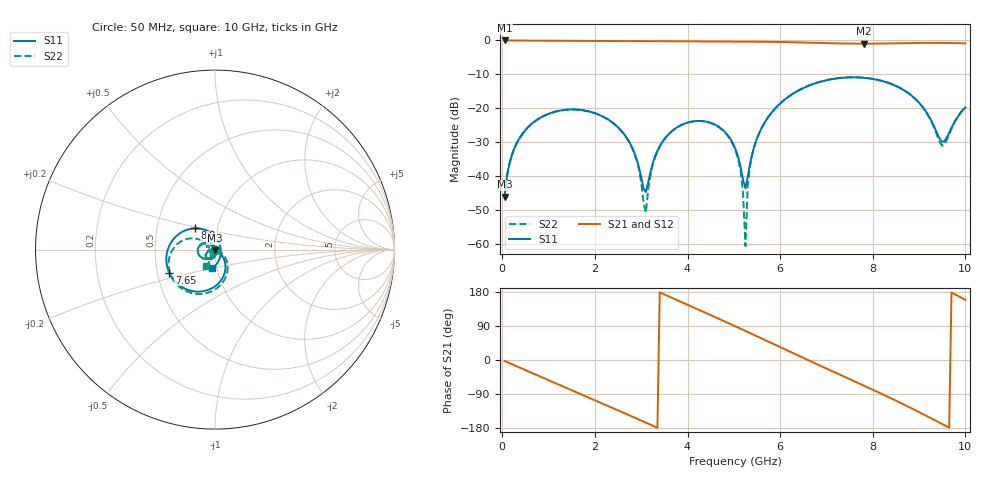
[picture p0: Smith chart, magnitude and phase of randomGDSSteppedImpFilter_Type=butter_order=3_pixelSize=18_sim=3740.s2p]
! freq	dB(S11)	phase(S11)	dB(S12)	phase(S12)
!  dB(S21)	phase(S21)	dB(S22)	phase(S22)
!S-par simulation data
#  GHz  S  DB  R 50
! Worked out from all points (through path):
!   200 points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, 50 MHz to 10 GHz, reference 50 ohm
!   highest |S21| = -0.01 dB at 50 MHz (marker M1); lowest = -0.9 dB at 7.8 GHz (marker M2)
!   group delay of S21, straight-line fit = 155 ps
!   lowest |S11| = -46.0 dB at 50 MHz (marker M3), VSWR 1.01, Z = 50 - j0.499 ohm
!   |S11| at or under -10 dB: start of sweep to end of sweep
!   |S22| runs from -60.6 to -10.8 dB; largest |S21 - S12| = 0
!   S11 on the Smith chart (normalised r, x): 50 MHz: 1.00, -0.01; 7.65 GHz: 0.58, -0.16; 8.8 GHz: 0.78, +0.19; 10 GHz: 0.95, -0.20
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0.05  -46.03 -91.9  -0.01 -2.7  -0.01 -2.7  -46.05 -91.8
0.2  -34.03 -100.5  -0.02 -10.7  -0.02 -10.7  -34.03 -100.2
0.5  -26.38 -117.1  -0.04 -26.7  -0.04 -26.7  -26.39 -116.4
1.75  -20.56 174.3  -0.14 -92.9  -0.14 -92.9  -20.58 177.4
2.7  -28.94 117.2  -0.17 -143.6  -0.17 -143.6  -29.05 130.0
3.1  -44.66 2.1  -0.20 -165.2  -0.20 -165.2  -50.68 -138.9
3.2  -38.63 -51.9  -0.21 -170.7  -0.21 -170.7  -39.48 -94.3
3.4  -31.14 -80.0  -0.23 178.5  -0.23 178.5  -31.26 -96.6
4.3  -23.72 -135.8  -0.31 129.4  -0.31 129.4  -23.76 -141.2
5.05  -32.51 -166.7  -0.34 87.9  -0.34 87.9  -32.94 178.0
5.2  -41.14 -141.2  -0.34 79.5  -0.34 79.5  -45.26 166.5
5.25  -43.53 -99.2  -0.35 76.7  -0.35 76.7  -60.56 21.6
5.3  -40.26 -59.9  -0.35 73.9  -0.35 73.9  -42.66 -11.5
5.35  -36.27 -45.3  -0.35 71.1  -0.35 71.1  -36.98 -15.8
5.55  -27.18 -39.9  -0.37 59.7  -0.37 59.7  -27.21 -27.9
6.7  -12.89 -99.2  -0.68 -5.8  -0.68 -5.8  -12.85 -92.3
7.65  -10.88 -153.3  -0.94 -58.8  -0.94 -58.8  -10.83 -143.1
7.8  -11.00 -162.1  -0.94 -67.2  -0.94 -67.2  -10.95 -151.0
8.35  -12.57 164.1  -0.88 -98.5  -0.88 -98.5  -12.53 -179.7
8.8  -15.84 132.8  -0.78 -125.2  -0.78 -125.2  -15.82 158.0
9.5  -29.85 14.1  -0.73 -169.0  -0.73 -169.0  -30.99 -168.7
10  -19.72 -97.9  -0.86 158.7  -0.86 158.7  -19.64 -119.1
